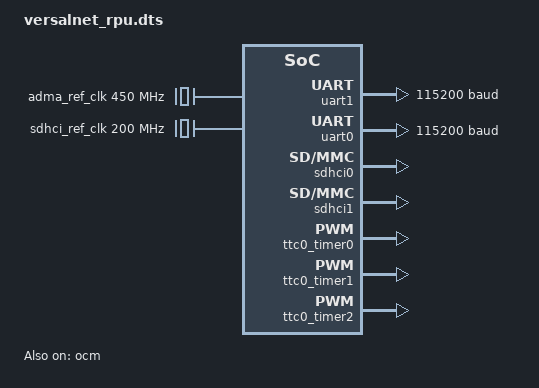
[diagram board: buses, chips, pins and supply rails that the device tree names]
/*
 * Copyright (c) 2025, Advanced Micro Devices, Inc.
 *
 * SPDX-License-Identifier: Apache-2.0
 */

/dts-v1/;
#include <arm/xilinx/versalnet_r52.dtsi>

/ {
	chosen {
		zephyr,sram = &sram0;
		zephyr,console = &uart0;
		zephyr,shell-uart = &uart0;
		zephyr,ocm = &ocm;
	};

	adma_ref_clk: adma-ref-clk {
		compatible = "fixed-clock";
		#clock-cells = <0>;
		clock-frequency = <450000000>;
	};

	sdhci_ref_clk: sdhci-ref-clk {
		compatible = "fixed-clock";
		clock-frequency = <200000000>;
		#clock-cells = <0>;
	};
};

&cpu0 {
	clock-frequency = <100000000>;
};

&soc {
	tcm: memory@0 {
		compatible = "mmio-sram";
		reg = <0x0 DT_SIZE_K(64)>;
	};

	sram0: memory@30000 {
		compatible = "mmio-sram";
		reg = <0x30000 DT_SIZE_M(2047)>;
	};
};

&ocm {
	status = "okay";
};

&uart1 {
	current-speed = <115200>;
	clock-frequency = <100000000>;
	status = "okay";
};

&uart0 {
	current-speed = <115200>;
	clock-frequency = <100000000>;
	status = "okay";
};

&sdhci0 {
	power-delay-ms = <10>;
	clocks = <&sdhci_ref_clk>;
	status = "okay";
};

&sdhci1 {
	clocks = <&sdhci_ref_clk>;
	status = "okay";
};

&adma0 {
	clocks = <&adma_ref_clk>, <&adma_ref_clk>;
	status = "okay";
};

&adma1 {
	clocks = <&adma_ref_clk>, <&adma_ref_clk>;
	status = "okay";
};

&adma2 {
	clocks = <&adma_ref_clk>, <&adma_ref_clk>;
	status = "okay";
};

&adma3 {
	clocks = <&adma_ref_clk>, <&adma_ref_clk>;
	status = "okay";
};

&adma4 {
	clocks = <&adma_ref_clk>, <&adma_ref_clk>;
	status = "okay";
};

&adma5 {
	clocks = <&adma_ref_clk>, <&adma_ref_clk>;
	status = "okay";
};

&adma6 {
	clocks = <&adma_ref_clk>, <&adma_ref_clk>;
	status = "okay";
};

&adma7 {
	clocks = <&adma_ref_clk>, <&adma_ref_clk>;
	status = "okay";
};

&ttc0_timer0 {
	status = "okay";
};

&ttc0_timer1 {
	status = "okay";
};

&ttc0_timer2 {
	status = "okay";
};
